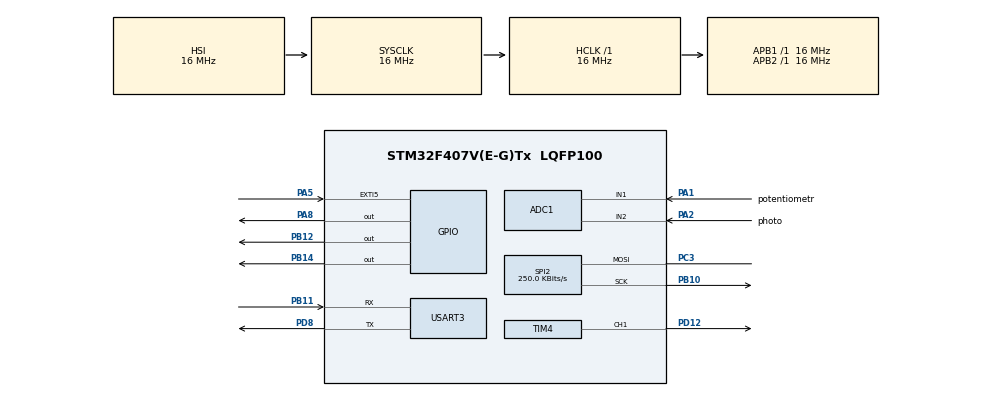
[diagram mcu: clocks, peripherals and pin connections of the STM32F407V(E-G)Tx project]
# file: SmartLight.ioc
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ADC1.Channel-0\#ChannelRegularConversion=ADC_CHANNEL_1
ADC1.Channel-1\#ChannelRegularConversion=ADC_CHANNEL_2
ADC1.ContinuousConvMode=ENABLE
ADC1.DMAContinuousRequests=DISABLE
ADC1.DiscontinuousConvMode=DISABLE
ADC1.NbrOfConversion=2
ADC1.NbrOfConversionFlag=1
ADC1.Rank-0\#ChannelRegularConversion=1
ADC1.Rank-1\#ChannelRegularConversion=2
ADC1.SamplingTime-0\#ChannelRegularConversion=ADC_SAMPLETIME_480CYCLES
ADC1.SamplingTime-1\#ChannelRegularConversion=ADC_SAMPLETIME_480CYCLES
ADC1.master=1
Mcu.Family=STM32F4
Mcu.Name=STM32F407V(E-G)Tx
Mcu.Package=LQFP100
NVIC.EXTI9_5_IRQn=true\:0\:0\:false\:false\:true\:true\:true
NVIC.PriorityGroup=NVIC_PRIORITYGROUP_4
NVIC.TIM1_UP_TIM10_IRQn=true\:0\:0\:false\:false\:true\:true\:true
NVIC.TIM4_IRQn=true\:0\:0\:false\:false\:true\:true\:true
NVIC.USART3_IRQn=true\:0\:0\:false\:false\:true\:true\:true
PA1.GPIO_Label=potentiometr
PA1.Signal=ADCx_IN1
PA13.Mode=Serial_Wire
PA13.Signal=SYS_JTMS-SWDIO
PA14.Mode=Serial_Wire
PA14.Signal=SYS_JTCK-SWCLK
PA2.GPIO_Label=photo
PA2.Signal=ADCx_IN2
PA5.GPIO_PuPd=GPIO_PULLDOWN
PA5.Signal=GPXTI5
PA8.Signal=GPIO_Output
PB10.Mode=Simplex_Bidirectional_Master
PB10.Signal=SPI2_SCK
PB11.Mode=Asynchronous
PB11.Signal=USART3_RX
PB12.Signal=GPIO_Output
PB14.Signal=GPIO_Output
PC3.Mode=Simplex_Bidirectional_Master
PC3.Signal=SPI2_MOSI
PD12.GPIO_Speed=GPIO_SPEED_FREQ_HIGH
PD12.Signal=S_TIM4_CH1
PD8.Mode=Asynchronous
PD8.Signal=USART3_TX
ProjectManager.HeapSize=0x200
ProjectManager.StackSize=0x400
ProjectManager.TargetToolchain=STM32CubeIDE
RCC.AHBFreq_Value=16000000
RCC.APB1Freq_Value=16000000
RCC.APB2Freq_Value=16000000
RCC.CortexFreq_Value=16000000
RCC.HSE_VALUE=25000000
RCC.HSI_VALUE=16000000
RCC.LSE_VALUE=32768
RCC.SYSCLKFreq_VALUE=16000000
RCC.VCOOutputFreq_Value=192000000
SH.ADCx_IN1.0=ADC1_IN1,IN1
SH.ADCx_IN2.0=ADC1_IN2,IN2
SH.S_TIM4_CH1.0=TIM4_CH1,PWM Generation1 CH1
SPI2.BaudRatePrescaler=SPI_BAUDRATEPRESCALER_64
SPI2.CalculateBaudRate=250.0 KBits/s
SPI2.Direction=SPI_DIRECTION_1LINE
SPI2.Mode=SPI_MODE_MASTER
SPI2.VirtualType=VM_MASTER
TIM1.Period=500
TIM1.Prescaler=15999
TIM4.Channel-PWM\ Generation1\ CH1=TIM_CHANNEL_1
TIM4.OCFastMode_PWM-PWM\ Generation1\ CH1=TIM_OCFAST_ENABLE
TIM4.Period=65535
USART3.VirtualMode=VM_ASYNC
VP_TIM1_VS_ClockSourceINT.Mode=Internal
VP_TIM4_VS_ClockSourceINT.Mode=Internal
board=custom

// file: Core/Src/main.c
/* USER CODE BEGIN Header */
/**
  ******************************************************************************
  * @file           : main.c
  * @brief          : Main program body
  ******************************************************************************
  * @attention
  *
  * <h2><center>&copy; Copyright (c) 2020 STMicroelectronics.
  * All rights reserved.</center></h2>
  *
  * This software component is licensed by ST under BSD 3-Clause license,
  * the "License"; You may not use this file except in compliance with the
  * License. You may obtain a copy of the License at:
  *                        opensource.org/licenses/BSD-3-Clause
  *
  ******************************************************************************
  */
/* USER CODE END Header */

#include "main.h"

/* USER CODE BEGIN Includes */
#include "smartlight_control.h"
#include "smartlight_display.h"
#include "smartlight_commands.h"
/* USER CODE END Includes */

ADC_HandleTypeDef hadc1;

SPI_HandleTypeDef hspi2;

TIM_HandleTypeDef htim1;
TIM_HandleTypeDef htim4;

UART_HandleTypeDef huart3;

/* USER CODE BEGIN PV */
#define HADCx hadc1

#define SSD1306_SPI_PORT        hspi2

#define SSD1306_CS_Port         GPIOB
#define SSD1306_CS_Pin          GPIO_PIN_12

#define SSD1306_DC_Port         GPIOB
#define SSD1306_DC_Pin          GPIO_PIN_14

#define SSD1306_Reset_Port      GPIOA
#define SSD1306_Reset_Pin       GPIO_PIN_8

#define HTIMx_LED 	htim4
#define TIMx_LED 	TIM4

#define HTIMx_LOOP 	htim1
#define TIMx_LOOP 	TIM1

#define HUARTx_COM huart3

#define GPIO_PINx_BTN GPIO_PIN_5

smartlight_setup g_Setup;
uint32_t g_start = 0;
/* USER CODE END PV */

void SystemClock_Config(void);
static void MX_GPIO_Init(void);
static void MX_ADC1_Init(void);
static void MX_TIM1_Init(void);
static void MX_TIM4_Init(void);
static void MX_SPI2_Init(void);
static void MX_USART3_UART_Init(void);

/* USER CODE BEGIN 0 */
/*****************************************************************************/
void adc_read(void)
{
	HAL_ADC_Start(&HADCx);

	HAL_ADC_PollForConversion(&HADCx,100);
	g_Setup.sensors.nPotentiometr = HAL_ADC_GetValue(&HADCx);

	HAL_ADC_PollForConversion(&HADCx,100);
	g_Setup.sensors.nPhoto = HAL_ADC_GetValue(&HADCx);

	HAL_ADC_Stop(&HADCx);
}

void sensors_read(void)
{
	adc_read();
}

/*****************************************************************************/
void pwm_set_data(uint32_t data)
{
	g_Setup.led.nLed = data;
	TIMx_LED->CCR1 = data;
}
void pwm_start()
{
	HAL_TIM_PWM_Start(&HTIMx_LED, TIM_CHANNEL_1);
}
void pwm_stop()
{
	HAL_TIM_PWM_Stop(&HTIMx_LED, TIM_CHANNEL_1);
}

/*****************************************************************************/
void command_send(uint8_t* a_buffer,uint16_t a_size)
{
	HAL_UART_Transmit(&HUARTx_COM,a_buffer,a_size,0xFFFF);
}

void command_read(uint8_t** a_buffer,uint16_t a_size)
{
	HAL_UART_Receive_IT(&HUARTx_COM, *a_buffer, a_size);
}

void HAL_UART_RxCpltCallback(UART_HandleTypeDef *huart)
{
	if(huart == &HUARTx_COM) {
	}
}

void HAL_UART_TxCpltCallback(UART_HandleTypeDef *huart)
{
	if(huart == &HUARTx_COM) {
	}
}
/*****************************************************************************/
void HAL_TIM_PeriodElapsedCallback(TIM_HandleTypeDef *htim)
{
	if(htim->Instance == TIMx_LOOP){
		smartlight_control_update();
	}
}
/*****************************************************************************/
void HAL_GPIO_EXTI_Callback(uint16_t GPIO_Pin)
{
	if(GPIO_Pin== GPIO_PINx_BTN) {
		//Защита от дребезга. Если прерывание прилетело слишком быстро - просто проигнорируем
		if(abs(HAL_GetTick()-g_start)>500) {
			g_start = HAL_GetTick();
		} else
			return;
		//Если все нормально - переключим режим работы
		smartlight_control_SwitchWorkmode();
	} else {
		__NOP();
	}
}
/*****************************************************************************/
/* USER CODE END 0 */

int main(void)
{
  /* USER CODE BEGIN 1 */
	g_Setup.led.led_handler = pwm_set_data;
	g_Setup.led.led_on = pwm_start;
	g_Setup.led.led_off = pwm_stop;
	g_Setup.led.nLed = 0;
	g_Setup.sensors.sensors_handler = sensors_read;
	g_Setup.sensors.nPhoto = 0;
	g_Setup.sensors.nPotentiometr = 0;
	g_Setup.commands.commands_read = command_read;
	g_Setup.commands.commands_send = command_send;
	g_start = 0;
  /* USER CODE END 1 */

  /* MCU Configuration--------------------------------------------------------*/

  /* Reset of all peripherals, Initializes the Flash interface and the Systick. */
  HAL_Init();

  /* Configure the system clock */
  SystemClock_Config();

  /* Initialize all configured peripherals */
  MX_GPIO_Init();
  MX_ADC1_Init();
  MX_TIM1_Init();
  MX_TIM4_Init();
  MX_SPI2_Init();
  MX_USART3_UART_Init();
  /* USER CODE BEGIN 2 */
  HAL_TIM_Base_Start_IT(&HTIMx_LOOP);
  pwm_start();
  smartlight_control_init(&g_Setup);
  smartlight_commands_init(&g_Setup);
  /* USER CODE END 2 */

  /* Infinite loop */
  while (1)
  {

  }
}

void SystemClock_Config(void)
{
  RCC_OscInitTypeDef RCC_OscInitStruct = {0};
  RCC_ClkInitTypeDef RCC_ClkInitStruct = {0};

  /** Configure the main internal regulator output voltage
  */
  __HAL_RCC_PWR_CLK_ENABLE();
  __HAL_PWR_VOLTAGESCALING_CONFIG(PWR_REGULATOR_VOLTAGE_SCALE1);
  /** Initializes the CPU, AHB and APB busses clocks
  */
  RCC_OscInitStruct.OscillatorType = RCC_OSCILLATORTYPE_HSI;
  RCC_OscInitStruct.HSIState = RCC_HSI_ON;
  RCC_OscInitStruct.HSICalibrationValue = RCC_HSICALIBRATION_DEFAULT;
  RCC_OscInitStruct.PLL.PLLState = RCC_PLL_NONE;
  if (HAL_RCC_OscConfig(&RCC_OscInitStruct) != HAL_OK)
  {
    Error_Handler();
  }
  /** Initializes the CPU, AHB and APB busses clocks
  */
  RCC_ClkInitStruct.ClockType = RCC_CLOCKTYPE_HCLK|RCC_CLOCKTYPE_SYSCLK
                              |RCC_CLOCKTYPE_PCLK1|RCC_CLOCKTYPE_PCLK2;
  RCC_ClkInitStruct.SYSCLKSource = RCC_SYSCLKSOURCE_HSI;
  RCC_ClkInitStruct.AHBCLKDivider = RCC_SYSCLK_DIV1;
  RCC_ClkInitStruct.APB1CLKDivider = RCC_HCLK_DIV1;
  RCC_ClkInitStruct.APB2CLKDivider = RCC_HCLK_DIV1;

  if (HAL_RCC_ClockConfig(&RCC_ClkInitStruct, FLASH_LATENCY_0) != HAL_OK)
  {
    Error_Handler();
  }
}

static void MX_ADC1_Init(void)
{

  ADC_ChannelConfTypeDef sConfig = {0};

  /** Configure the global features of the ADC (Clock, Resolution, Data Alignment and number of conversion)
  */
  hadc1.Instance = ADC1;
  hadc1.Init.ClockPrescaler = ADC_CLOCK_SYNC_PCLK_DIV2;
  hadc1.Init.Resolution = ADC_RESOLUTION_12B;
  hadc1.Init.ScanConvMode = ENABLE;
  hadc1.Init.ContinuousConvMode = ENABLE;
  hadc1.Init.DiscontinuousConvMode = DISABLE;
  hadc1.Init.ExternalTrigConvEdge = ADC_EXTERNALTRIGCONVEDGE_NONE;
  hadc1.Init.ExternalTrigConv = ADC_SOFTWARE_START;
  hadc1.Init.DataAlign = ADC_DATAALIGN_RIGHT;
  hadc1.Init.NbrOfConversion = 2;
  hadc1.Init.DMAContinuousRequests = DISABLE;
  hadc1.Init.EOCSelection = ADC_EOC_SINGLE_CONV;
  if (HAL_ADC_Init(&hadc1) != HAL_OK)
  {
    Error_Handler();
  }
  /** Configure for the selected ADC regular channel its corresponding rank in the sequencer and its sample time.
  */
  sConfig.Channel = ADC_CHANNEL_1;
  sConfig.Rank = 1;
  sConfig.SamplingTime = ADC_SAMPLETIME_480CYCLES;
  if (HAL_ADC_ConfigChannel(&hadc1, &sConfig) != HAL_OK)
  {
    Error_Handler();
  }
  /** Configure for the selected ADC regular channel its corresponding rank in the sequencer and its sample time.
  */
  sConfig.Channel = ADC_CHANNEL_2;
  sConfig.Rank = 2;
  if (HAL_ADC_ConfigChannel(&hadc1, &sConfig) != HAL_OK)
  {
    Error_Handler();
  }

}

static void MX_SPI2_Init(void)
{

  /* SPI2 parameter configuration*/
  hspi2.Instance = SPI2;
  hspi2.Init.Mode = SPI_MODE_MASTER;
  hspi2.Init.Direction = SPI_DIRECTION_1LINE;
  hspi2.Init.DataSize = SPI_DATASIZE_8BIT;
  hspi2.Init.CLKPolarity = SPI_POLARITY_LOW;
  hspi2.Init.CLKPhase = SPI_PHASE_1EDGE;
  hspi2.Init.NSS = SPI_NSS_SOFT;
  hspi2.Init.BaudRatePrescaler = SPI_BAUDRATEPRESCALER_64;
  hspi2.Init.FirstBit = SPI_FIRSTBIT_MSB;
  hspi2.Init.TIMode = SPI_TIMODE_DISABLE;
  hspi2.Init.CRCCalculation = SPI_CRCCALCULATION_DISABLE;
  hspi2.Init.CRCPolynomial = 10;
  if (HAL_SPI_Init(&hspi2) != HAL_OK)
  {
    Error_Handler();
  }

}

static void MX_TIM1_Init(void)
{

  TIM_ClockConfigTypeDef sClockSourceConfig = {0};
  TIM_MasterConfigTypeDef sMasterConfig = {0};

  htim1.Instance = TIM1;
  htim1.Init.Prescaler = 15999;
  htim1.Init.CounterMode = TIM_COUNTERMODE_UP;
  htim1.Init.Period = 500;
  htim1.Init.ClockDivision = TIM_CLOCKDIVISION_DIV1;
  htim1.Init.RepetitionCounter = 0;
  htim1.Init.AutoReloadPreload = TIM_AUTORELOAD_PRELOAD_DISABLE;
  if (HAL_TIM_Base_Init(&htim1) != HAL_OK)
  {
    Error_Handler();
  }
  sClockSourceConfig.ClockSource = TIM_CLOCKSOURCE_INTERNAL;
  if (HAL_TIM_ConfigClockSource(&htim1, &sClockSourceConfig) != HAL_OK)
  {
    Error_Handler();
  }
  sMasterConfig.MasterOutputTrigger = TIM_TRGO_RESET;
  sMasterConfig.MasterSlaveMode = TIM_MASTERSLAVEMODE_DISABLE;
  if (HAL_TIMEx_MasterConfigSynchronization(&htim1, &sMasterConfig) != HAL_OK)
  {
    Error_Handler();
  }

}

static void MX_TIM4_Init(void)
{

  TIM_ClockConfigTypeDef sClockSourceConfig = {0};
  TIM_MasterConfigTypeDef sMasterConfig = {0};
  TIM_OC_InitTypeDef sConfigOC = {0};

  htim4.Instance = TIM4;
  htim4.Init.Prescaler = 0;
  htim4.Init.CounterMode = TIM_COUNTERMODE_UP;
  htim4.Init.Period = 65535;
  htim4.Init.ClockDivision = TIM_CLOCKDIVISION_DIV1;
  htim4.Init.AutoReloadPreload = TIM_AUTORELOAD_PRELOAD_DISABLE;
  if (HAL_TIM_Base_Init(&htim4) != HAL_OK)
  {
    Error_Handler();
  }
  sClockSourceConfig.ClockSource = TIM_CLOCKSOURCE_INTERNAL;
  if (HAL_TIM_ConfigClockSource(&htim4, &sClockSourceConfig) != HAL_OK)
  {
    Error_Handler();
  }
  if (HAL_TIM_PWM_Init(&htim4) != HAL_OK)
  {
    Error_Handler();
  }
  sMasterConfig.MasterOutputTrigger = TIM_TRGO_RESET;
  sMasterConfig.MasterSlaveMode = TIM_MASTERSLAVEMODE_DISABLE;
  if (HAL_TIMEx_MasterConfigSynchronization(&htim4, &sMasterConfig) != HAL_OK)
  {
    Error_Handler();
  }
  sConfigOC.OCMode = TIM_OCMODE_PWM1;
  sConfigOC.Pulse = 0;
  sConfigOC.OCPolarity = TIM_OCPOLARITY_HIGH;
  sConfigOC.OCFastMode = TIM_OCFAST_ENABLE;
  if (HAL_TIM_PWM_ConfigChannel(&htim4, &sConfigOC, TIM_CHANNEL_1) != HAL_OK)
  {
    Error_Handler();
  }
  HAL_TIM_MspPostInit(&htim4);

}

static void MX_USART3_UART_Init(void)
{

  huart3.Instance = USART3;
  huart3.Init.BaudRate = 115200;
  huart3.Init.WordLength = UART_WORDLENGTH_8B;
  huart3.Init.StopBits = UART_STOPBITS_1;
  huart3.Init.Parity = UART_PARITY_NONE;
  huart3.Init.Mode = UART_MODE_TX_RX;
  huart3.Init.HwFlowCtl = UART_HWCONTROL_NONE;
  huart3.Init.OverSampling = UART_OVERSAMPLING_16;
  if (HAL_UART_Init(&huart3) != HAL_OK)
  {
    Error_Handler();
  }

}

static void MX_GPIO_Init(void)
{
  GPIO_InitTypeDef GPIO_InitStruct = {0};

  /* GPIO Ports Clock Enable */
  __HAL_RCC_GPIOC_CLK_ENABLE();
  __HAL_RCC_GPIOA_CLK_ENABLE();
  __HAL_RCC_GPIOB_CLK_ENABLE();
  __HAL_RCC_GPIOD_CLK_ENABLE();

  /*Configure GPIO pin Output Level */
  HAL_GPIO_WritePin(GPIOB, GPIO_PIN_12|GPIO_PIN_14, GPIO_PIN_RESET);

  /*Configure GPIO pin Output Level */
  HAL_GPIO_WritePin(GPIOA, GPIO_PIN_8, GPIO_PIN_RESET);

  /*Configure GPIO pin : PA5 */
  GPIO_InitStruct.Pin = GPIO_PIN_5;
  GPIO_InitStruct.Mode = GPIO_MODE_IT_RISING;
  GPIO_InitStruct.Pull = GPIO_PULLDOWN;
  HAL_GPIO_Init(GPIOA, &GPIO_InitStruct);

  /*Configure GPIO pins : PB12 PB14 */
  GPIO_InitStruct.Pin = GPIO_PIN_12|GPIO_PIN_14;
  GPIO_InitStruct.Mode = GPIO_MODE_OUTPUT_PP;
  GPIO_InitStruct.Pull = GPIO_NOPULL;
  GPIO_InitStruct.Speed = GPIO_SPEED_FREQ_LOW;
  HAL_GPIO_Init(GPIOB, &GPIO_InitStruct);

  /*Configure GPIO pin : PA8 */
  GPIO_InitStruct.Pin = GPIO_PIN_8;
  GPIO_InitStruct.Mode = GPIO_MODE_OUTPUT_PP;
  GPIO_InitStruct.Pull = GPIO_NOPULL;
  GPIO_InitStruct.Speed = GPIO_SPEED_FREQ_LOW;
  HAL_GPIO_Init(GPIOA, &GPIO_InitStruct);

  /* EXTI interrupt init*/
  HAL_NVIC_SetPriority(EXTI9_5_IRQn, 0, 0);
  HAL_NVIC_EnableIRQ(EXTI9_5_IRQn);

}

void Error_Handler(void)
{
}

/************************ (C) COPYRIGHT STMicroelectronics *****END OF FILE****/
